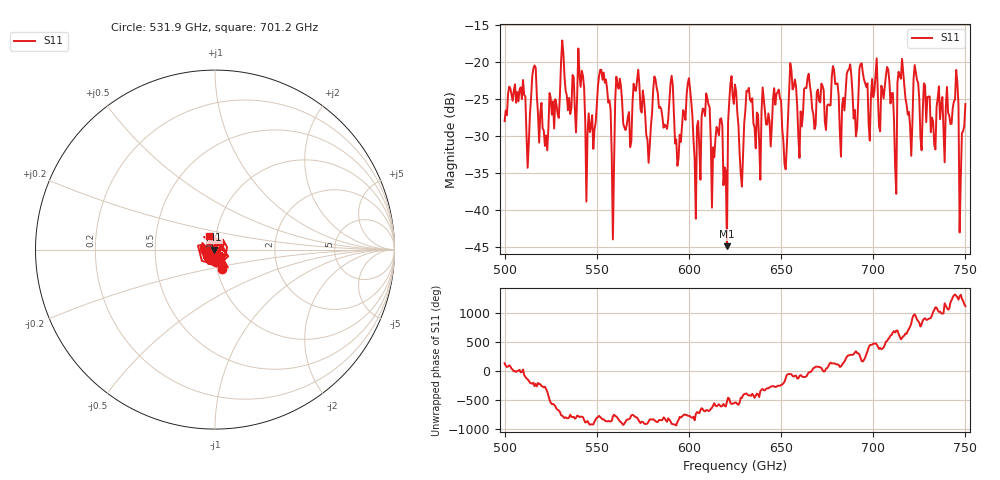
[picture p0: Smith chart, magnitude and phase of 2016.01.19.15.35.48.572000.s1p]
!Created with skrf (http://scikit-rf.org).
# GHz S RI R 50.0
!freq ReS11 ImS11
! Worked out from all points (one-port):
!   401 points, 500 GHz to 750 GHz, reference 50 ohm
!   lowest |S11| = -44.9 dB at 620.6 GHz (marker M1), VSWR 1.01, Z = 49.4 - j0.101 ohm
!   |S11| at or under -10 dB: start of sweep to end of sweep
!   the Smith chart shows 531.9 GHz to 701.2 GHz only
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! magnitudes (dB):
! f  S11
! 500 GHz  -28.1
! 513.1 GHz  -31.0
! 516.2 GHz  -20.5
! 522.5 GHz  -30.0
! 531.2 GHz  -17.1
! 541.2 GHz  -23.4
! 545.6 GHz  -27.0
! 553.8 GHz  -21.5
! 558.1 GHz  -32.7
! 562.5 GHz  -22.3
! 578.1 GHz  -33.7
! 590.6 GHz  -21.9
! 593.8 GHz  -34.1
! 600 GHz  -22.2
! 603.1 GHz  -33.3
! 610 GHz  -25.0
! 620.6 GHz  -44.9
! 625 GHz  -23.1
! 628.1 GHz  -35.2
! 632.5 GHz  -23.6
! 651.9 GHz  -33.9
! 656.2 GHz  -23.8
! 660.6 GHz  -26.7
! 687.5 GHz  -20.4
! 718.8 GHz  -27.2
! 745 GHz  -21.1
! 748.1 GHz  -29.6
! 750 GHz  -25.7
